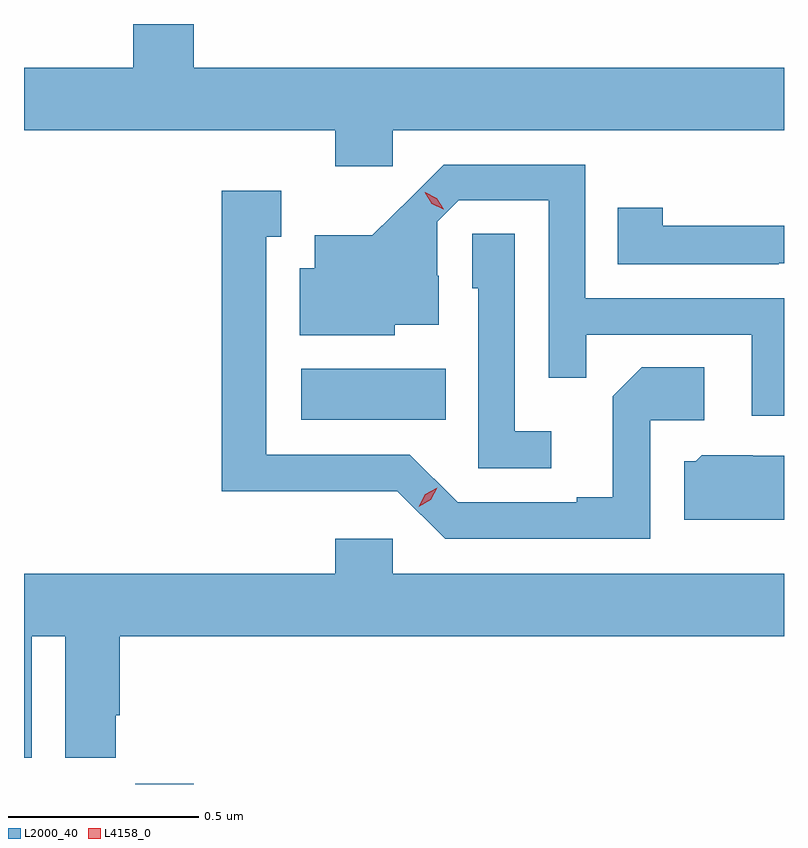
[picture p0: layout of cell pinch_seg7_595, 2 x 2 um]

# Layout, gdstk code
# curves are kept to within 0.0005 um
import gdstk
lib = gdstk.Library(unit=1e-6, precision=1e-09)
def R(c, l, rs):  # rectangles x0, y0, x1, y1
    for r in rs: c.add(gdstk.rectangle(r[:2], r[2:], *l))
def P(c, l, *ps):  # polygons
    for p in ps: c.add(gdstk.Polygon(p, *l))
L2000_40 = (2000, 40)
L4158_0 = (4158, 0)

pinch_seg7_595 = lib.new_cell('pinch_seg7_595')
R(pinch_seg7_595, L2000_40, [(138.049,1042.851,138.203,1042.852), (138.486,1043.81,138.866,1043.944)])
P(pinch_seg7_595, L2000_40, [(138.726,1044.572),(139.756,1044.572),(139.756,1044.736),(138.203,1044.736),(138.203,1044.851),(138.043,1044.851),(138.043,1044.736),(137.756,1044.736),(137.756,1044.572),(138.575,1044.572),(138.575,1044.477),(138.726,1044.477)],
  [(139.756,1044.129),(139.233,1044.129),(139.233,1044.48),(138.86,1044.48),(138.673,1044.295),(138.521,1044.295),(138.521,1044.208),(138.482,1044.208),(138.482,1044.032),(138.732,1044.032),(138.732,1044.059),(138.847,1044.059),(138.847,1044.188),(138.843,1044.188),(138.843,1044.33),(138.9,1044.387),(139.137,1044.387),(139.137,1043.92),(139.235,1043.92),(139.235,1044.033),(139.671,1044.033),(139.671,1043.82),(139.756,1043.82)],
  [(139.404,1043.808),(139.546,1043.808),(139.546,1043.948),(139.381,1043.948),(139.305,1043.872),(139.305,1043.605),(139.211,1043.605),(139.211,1043.592),(138.897,1043.592),(138.771,1043.718),(138.394,1043.718),(138.394,1044.291),(138.433,1044.291),(138.433,1044.412),(138.276,1044.412),(138.276,1043.621),(138.516,1043.621),(138.516,1043.622),(138.738,1043.622),(138.864,1043.496),(139.404,1043.496)],
  [(139.742,1044.222),(139.756,1044.222),(139.756,1044.32),(139.437,1044.32),(139.437,1044.367),(139.318,1044.367),(139.318,1044.219),(139.742,1044.219)],
  [(139.144,1043.779),(139.047,1043.779),(139.047,1044.299),(138.936,1044.299),(138.936,1044.156),(138.951,1044.156),(138.951,1043.682),(139.144,1043.682)],
  [(139.756,1043.715),(139.674,1043.715),(139.674,1043.716),(139.54,1043.716),(139.524,1043.7),(139.493,1043.7),(139.493,1043.546),(139.756,1043.546)],
  [(137.776,1043.24),(137.864,1043.24),(137.864,1042.92),(137.998,1042.92),(137.998,1043.032),(138.008,1043.032),(138.008,1043.24),(139.756,1043.24),(139.756,1043.404),(138.726,1043.404),(138.726,1043.497),(138.575,1043.497),(138.575,1043.404),(137.756,1043.404),(137.756,1042.92),(137.776,1042.92)])
P(pinch_seg7_595, L4158_0, [(138.859,1044.363),(138.829,1044.378),(138.811,1044.408),(138.811,1044.408),(138.812,1044.408),(138.842,1044.393),(138.86,1044.364),(138.86,1044.363)],
  [(138.795,1043.58),(138.795,1043.58),(138.812,1043.613),(138.844,1043.631),(138.844,1043.631),(138.844,1043.631),(138.827,1043.599),(138.795,1043.58)])

lib.write_gds('pinch_seg7_595.gds')
